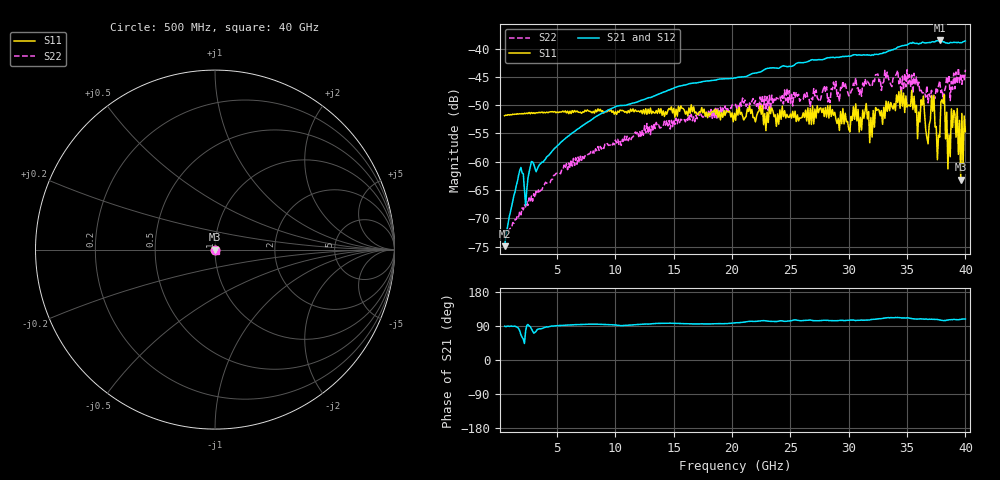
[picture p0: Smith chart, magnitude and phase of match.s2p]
!Keysight Technologies,N5247B,MY61255062,A.15.50.07
!Date: Thursday, February 13, 2025 10:43:35
!Correction: S11(C  2-Port  )
!S21(C  2-Port  )
!S12(C  2-Port  )
!S22(C  2-Port  )
!S2P File: Measurements: S11, S21, S12, S22:
# Hz S  MA  R 50
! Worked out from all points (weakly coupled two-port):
!   396 points, 500 MHz to 40 GHz, reference 50 ohm
!   highest |S21| = -38.56 dB at 37.8 GHz (marker M1); lowest = -74.9 dB at 500 MHz (marker M2)
!   lowest |S11| = -63.2 dB at 39.6 GHz (marker M3), VSWR 1.00, Z = 49.9 + j0.00782 ohm
!   |S11| at or under -10 dB: start of sweep to end of sweep
!   |S22| runs from -72.9 to -43.4 dB; largest |S21 - S12| = 0.0002
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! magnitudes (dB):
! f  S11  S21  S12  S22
! 500 MHz  -51.9  -74.9  -74.9  -72.3
! 1.9 GHz  -51.6  -61.0  -61.1  -69.4
! 2.3 GHz  -51.5  -67.7  -67.7  -68.0
! 7.1 GHz  -51.4  -53.7  -53.8  -59.8
! 13.7 GHz  -50.6  -48.1  -48.1  -53.5
! 20.3 GHz  -52.7  -45.2  -45.2  -49.9
! 26.9 GHz  -50.1  -42.0  -42.0  -49.1
! 33.5 GHz  -51.0  -40.4  -40.4  -45.8
! 35.4 GHz  -47.4  -39.1  -39.0  -44.7
! 35.9 GHz  -56.0  -39.1  -39.1  -46.8
! 36.4 GHz  -48.4  -38.9  -38.9  -47.8
! 36.8 GHz  -56.8  -38.9  -38.9  -49.6
! 37.3 GHz  -48.3  -38.8  -38.9  -48.8
! 37.6 GHz  -59.7  -38.6  -38.6  -47.7
! 37.8 GHz  -55.6  -38.6  -38.6  -45.7
! 38.2 GHz  -48.2  -38.8  -38.9  -47.6
! 38.5 GHz  -61.3  -39.1  -39.0  -46.2
! 39.3 GHz  -50.6  -38.9  -39.0  -46.2
! 39.6 GHz  -63.2  -38.9  -38.9  -44.4
! 39.7 GHz  -51.5  -39.0  -38.9  -46.3
! 39.8 GHz  -60.8  -38.8  -38.8  -44.7
! 40 GHz  -54.7  -38.6  -38.7  -43.7
